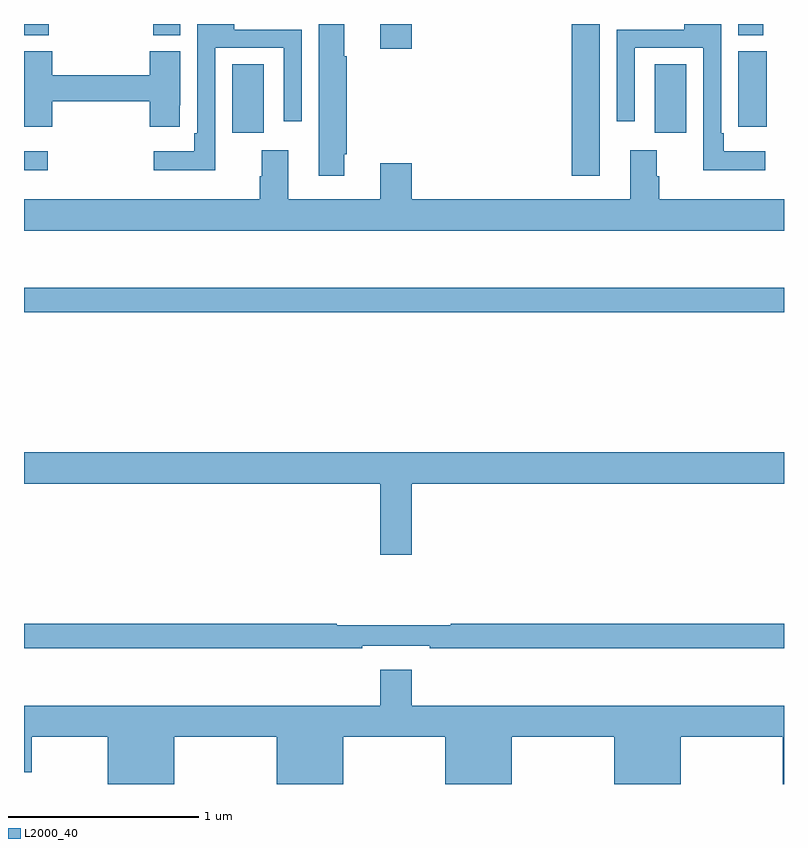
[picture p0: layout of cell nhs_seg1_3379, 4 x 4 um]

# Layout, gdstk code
import gdstk
lib = gdstk.Library(unit=1e-6, precision=1e-09)
def R(c, l, rs):  # rectangles x0, y0, x1, y1
    for r in rs: c.add(gdstk.rectangle(r[:2], r[2:], *l))
def P(c, l, *ps):  # polygons
    for p in ps: c.add(gdstk.Polygon(p, *l))
L2000_40 = (2000, 40)

nhs_seg1_3379 = lib.new_cell('nhs_seg1_3379')
R(nhs_seg1_3379, L2000_40, [(295,504.682,299,504.811), (297.884,505.401,298.03,506.199), (295,505.43,295.126,505.528), (296.096,505.626,296.263,505.988), (298.319,505.626,298.486,505.988), (298.76,505.659,298.909,506.055), (296.876,506.07,297.04,506.199), (295,506.14,295.13,506.199), (295.679,506.14,295.822,506.199), (298.76,506.14,298.891,506.199)])
P(nhs_seg1_3379, L2000_40, [(296.007,506.073),(296.367,506.073),(296.367,505.686),(296.463,505.686),(296.463,506.169),(296.107,506.169),(296.107,506.199),(295.911,506.199),(295.911,505.624),(295.895,505.624),(295.895,505.528),(295.683,505.528),(295.683,505.43),(296.007,505.43)],
  [(298.9,505.528),(298.684,505.528),(298.684,505.624),(298.671,505.624),(298.671,506.199),(298.475,506.199),(298.475,506.169),(298.119,506.169),(298.119,505.686),(298.215,505.686),(298.215,506.073),(298.575,506.073),(298.575,505.43),(298.9,505.43)],
  [(296.686,505.513),(296.699,505.513),(296.699,506.028),(296.686,506.028),(296.686,506.199),(296.552,506.199),(296.552,505.401),(296.686,505.401)],
  [(295.148,505.792),(295.661,505.792),(295.661,505.659),(295.821,505.659),(295.821,505.771),(295.822,505.771),(295.822,506.055),(295.661,506.055),(295.661,505.928),(295.148,505.928),(295.148,506.055),(295,506.055),(295,505.659),(295.148,505.659)],
  [(299,505.276),(298.343,505.276),(298.343,505.397),(298.33,505.397),(298.33,505.534),(298.19,505.534),(298.19,505.276),(297.04,505.276),(297.04,505.465),(296.876,505.465),(296.876,505.276),(296.392,505.276),(296.392,505.534),(296.252,505.534),(296.252,505.397),(296.24,505.397),(296.24,505.276),(295,505.276),(295,505.112),(299,505.112)],
  [(297.04,503.78),(299,503.78),(299,503.944),(295,503.944),(295,503.78),(296.876,503.78),(296.876,503.406),(297.04,503.406)],
  [(296.78,502.926),(297.136,502.926),(297.136,502.914),(299,502.914),(299,503.042),(297.245,503.042),(297.245,503.035),(296.645,503.035),(296.645,503.042),(295,503.042),(295,502.914),(296.78,502.914)],
  [(295.792,502.448),(296.33,502.448),(296.33,502.199),(296.68,502.199),(296.68,502.448),(297.218,502.448),(297.218,502.199),(297.568,502.199),(297.568,502.448),(298.106,502.448),(298.106,502.199),(298.456,502.199),(298.456,502.448),(298.994,502.448),(298.994,502.199),(299,502.199),(299,502.612),(297.04,502.612),(297.04,502.801),(296.876,502.801),(296.876,502.612),(295,502.612),(295,502.26),(295.042,502.26),(295.042,502.448),(295.442,502.448),(295.442,502.199),(295.792,502.199)])

lib.write_gds('nhs_seg1_3379.gds')
